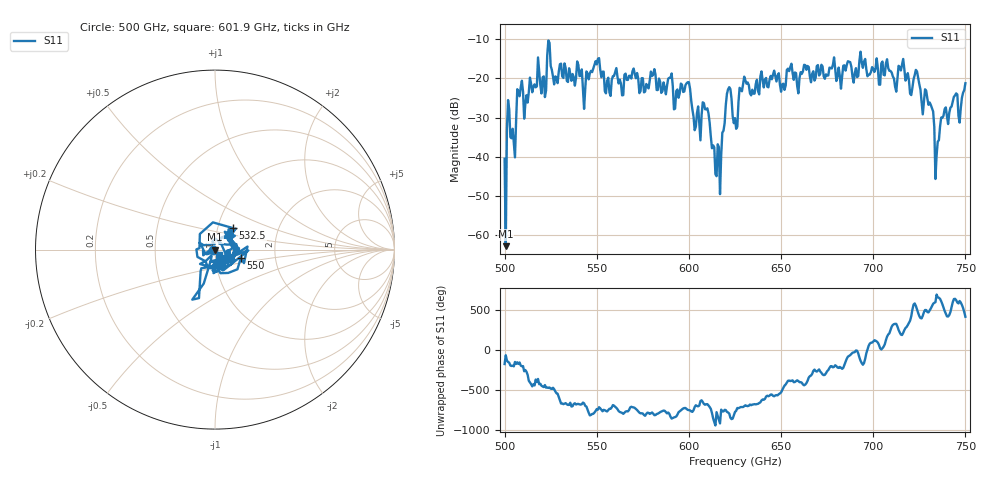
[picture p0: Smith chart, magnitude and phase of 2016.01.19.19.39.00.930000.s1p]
!Created with skrf (http://scikit-rf.org).
# GHz S RI R 50.0
!freq ReS11 ImS11
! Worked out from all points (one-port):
!   401 points, 500 GHz to 750 GHz, reference 50 ohm
!   lowest |S11| = -62.9 dB at 500.6 GHz (marker M1), VSWR 1.00, Z = 50 - j0.0654 ohm
!   |S11| at or under -10 dB: start of sweep to end of sweep
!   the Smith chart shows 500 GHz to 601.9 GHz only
!   S11 on the Smith chart (normalised r, x): 500 GHz: 0.98, -0.00; 532.5 GHz: 1.19, +0.29; 550 GHz: 1.33, -0.12; 601.9 GHz: 1.05, -0.07
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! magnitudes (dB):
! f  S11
! 500 GHz  -40.6
! 500.6 GHz  -62.9
! 502.5 GHz  -27.9
! 505 GHz  -36.5
! 508.1 GHz  -24.6
! 521.2 GHz  -19.5
! 524.4 GHz  -10.9
! 527.5 GHz  -19.5
! 531.2 GHz  -19.5
! 532.5 GHz  -16.2
! 543.8 GHz  -22.6
! 550 GHz  -16.4
! 562.5 GHz  -20.3
! 593.8 GHz  -22.8
! 599.4 GHz  -21.0
! 601.9 GHz  -27.9
! 609.4 GHz  -27.9
! 615.6 GHz  -36.9
! 621.2 GHz  -22.8
! 625 GHz  -30.2
! 630.6 GHz  -20.5
! 656.2 GHz  -18.6
! 687.5 GHz  -15.8
! 718.8 GHz  -18.6
! 729.4 GHz  -25.2
! 734.4 GHz  -39.7
! 738.1 GHz  -29.6
! 750 GHz  -21.2
